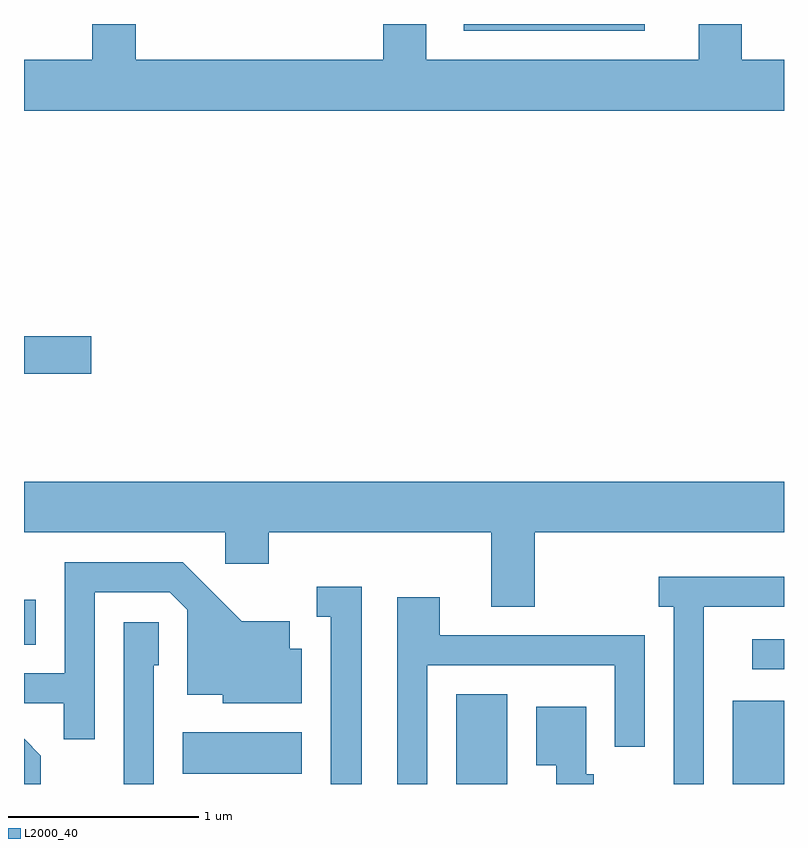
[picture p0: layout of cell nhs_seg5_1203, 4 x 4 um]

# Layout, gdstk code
import gdstk
lib = gdstk.Library(unit=1e-6, precision=1e-09)
def R(c, l, rs):  # rectangles x0, y0, x1, y1
    for r in rs: c.add(gdstk.rectangle(r[:2], r[2:], *l))
def P(c, l, *ps):  # polygons
    for p in ps: c.add(gdstk.Polygon(p, *l))
L2000_40 = (2000, 40)

nhs_seg5_1203 = lib.new_cell('nhs_seg5_1203')
R(nhs_seg5_1203, L2000_40, [(221.886,1522.072,222.154,1522.544), (223.341,1522.072,223.611,1522.509), (220.446,1522.126,221.074,1522.344), (223.443,1522.676,223.611,1522.834), (219.611,1522.806,219.674,1523.043), (219.611,1524.231,219.964,1524.429), (221.926,1526.036,222.879,1526.072)])
P(nhs_seg5_1203, L2000_40, [(223.611,1525.884),(223.389,1525.884),(223.389,1526.072),(223.161,1526.072),(223.161,1525.884),(221.729,1525.884),(221.729,1526.072),(221.501,1526.072),(221.501,1525.884),(220.199,1525.884),(220.199,1526.072),(219.971,1526.072),(219.971,1525.884),(219.611,1525.884),(219.611,1525.616),(223.611,1525.616)],
  [(222.299,1523.396),(223.611,1523.396),(223.611,1523.664),(219.611,1523.664),(219.611,1523.396),(220.671,1523.396),(220.671,1523.231),(220.899,1523.231),(220.899,1523.396),(222.071,1523.396),(222.071,1523.006),(222.299,1523.006)],
  [(219.984,1523.081),(220.379,1523.081),(220.471,1522.989),(220.471,1522.541),(220.656,1522.541),(220.656,1522.496),(221.074,1522.496),(221.074,1522.784),(221.009,1522.784),(221.009,1522.929),(220.757,1522.929),(220.447,1523.239),(219.826,1523.239),(219.826,1522.654),(219.611,1522.654),(219.611,1522.496),(219.821,1522.496),(219.821,1522.308),(219.984,1522.308)],
  [(223.189,1523.006),(223.611,1523.006),(223.611,1523.164),(222.953,1523.164),(222.953,1523.006),(223.031,1523.006),(223.031,1522.072),(223.189,1522.072)],
  [(221.389,1523.109),(221.153,1523.109),(221.153,1522.951),(221.226,1522.951),(221.226,1522.072),(221.389,1522.072)],
  [(221.734,1522.696),(222.721,1522.696),(222.721,1522.268),(222.879,1522.268),(222.879,1522.854),(221.799,1522.854),(221.799,1523.054),(221.576,1523.054),(221.576,1522.072),(221.734,1522.072)],
  [(220.294,1522.696),(220.319,1522.696),(220.319,1522.924),(220.136,1522.924),(220.136,1522.072),(220.294,1522.072)],
  [(222.609,1522.124),(222.569,1522.124),(222.569,1522.479),(222.306,1522.479),(222.306,1522.171),(222.411,1522.171),(222.411,1522.072),(222.609,1522.072)],
  [(219.699,1522.222),(219.611,1522.31),(219.611,1522.072),(219.699,1522.072)])

lib.write_gds('nhs_seg5_1203.gds')
